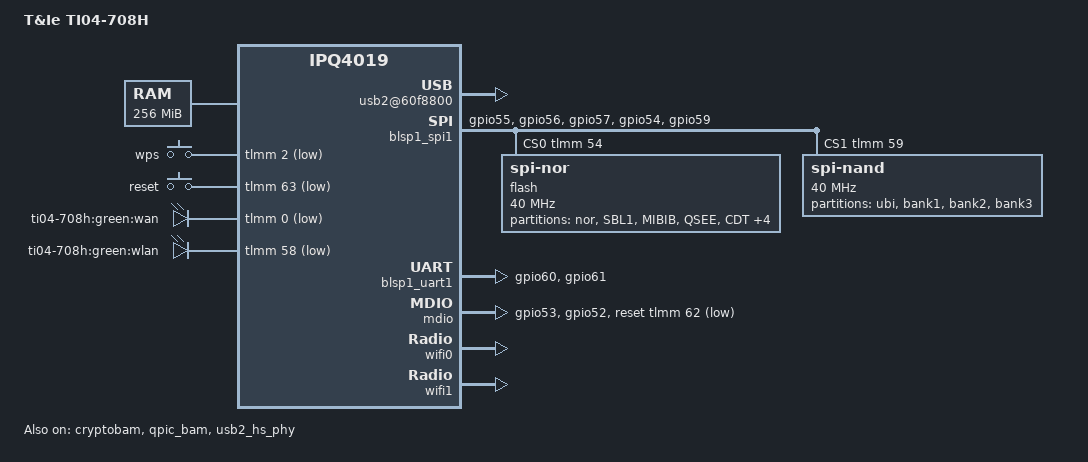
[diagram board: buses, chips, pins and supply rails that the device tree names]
// SPDX-License-Identifier: GPL-2.0-or-later OR MIT

#include "qcom-ipq4019.dtsi"
#include <dt-bindings/gpio/gpio.h>
#include <dt-bindings/input/input.h>
#include <dt-bindings/soc/qcom,tcsr.h>

/ {
	model = "T&Ie TI04-708H";
	compatible = "tnie,ti04-708h";

	memory {
		device_type = "memory";
		reg = <0x80000000 0x10000000>;
	};

	aliases {
		led-boot = &led_wan;
		led-failsafe = &led_wan;
		led-upgrade = &led_wan;
	};

	chosen {
		// bootargs-append = " ubi.mtd=UBI_DEV";
	};

	keys {
		compatible = "gpio-keys";

		wps {
			label = "wps";
			gpios = <&tlmm 2 GPIO_ACTIVE_LOW>;
			linux,code = <KEY_WPS_BUTTON>;
		};

		reset {
			label = "reset";
			gpios = <&tlmm 63 GPIO_ACTIVE_LOW>;
			linux,code = <KEY_RESTART>;
		};
	};

	leds {
		compatible = "gpio-leds";

		led_wan: wan {
			label = "ti04-708h:green:wan";
			gpios = <&tlmm 0 GPIO_ACTIVE_LOW>;
		};

		wlan {
			label = "ti04-708h:green:wlan";
			gpios = <&tlmm 58 GPIO_ACTIVE_LOW>;
			linux,default-trigger = "phy0tpt";
		};
	};

	soc {
		rng@22000 {
			status = "okay";
		};

		ess-psgmii@98000 {
			status = "okay";
		};

		counter@4a1000 {
			compatible = "qcom,qca-gcnt";
			reg = <0x4a1000 0x4>;
		};

		tcsr@1949000 {
			compatible = "qcom,tcsr";
			reg = <0x1949000 0x100>;
			qcom,wifi_glb_cfg = <TCSR_WIFI_GLB_CFG>;
		};

		tcsr@194b000 {
			compatible = "qcom,tcsr";
			reg = <0x194b000 0x100>;
			qcom,usb-hsphy-mode-select = <TCSR_USB_HSPHY_HOST_MODE>;
		};

		ess_tcsr@1953000 {
			compatible = "qcom,tcsr";
			reg = <0x1953000 0x1000>;
			qcom,ess-interface-select = <TCSR_ESS_PSGMII>;
		};

		tcsr@1957000 {
			compatible = "qcom,tcsr";
			reg = <0x1957000 0x100>;
			qcom,wifi_noc_memtype_m0_m2 = <TCSR_WIFI_NOC_MEMTYPE_M0_M2>;
		};

		usb2@60f8800 {
			status = "okay";

			dwc3@6000000 {
				#address-cells = <1>;
				#size-cells = <0>;

				port@1 {
					reg = <1>;
					#trigger-source-cells = <0>;
				};
			};
		};

		crypto@8e3a000 {
			status = "okay";
		};

		watchdog@b017000 {
			status = "okay";
		};

		ess-switch@c000000 {
			status = "okay";

			// switch_lan_bmp = <0x3c>;
			// switch_wan_bmp = <0x02>;
		};

		edma@c080000 {
			status = "okay";
		};
	};
};

&blsp_dma {
	status = "okay";
};

&blsp1_spi1 { /* BLSP1 QUP1 */
	pinctrl-0 = <&spi_0_pins>;
	pinctrl-names = "default";
	status = "okay";
	cs-gpios = <&tlmm 54 GPIO_ACTIVE_HIGH>,
		   <&tlmm 59 GPIO_ACTIVE_HIGH>;

	flash@0 {
		// compatible = "jedec,spi-nor", "n25q128a11";
		compatible = "jedec,spi-nor";
		reg = <0>;
		spi-max-frequency = <40000000>;

		partitions {
			compatible = "fixed-partitions";
			#address-cells = <1>;
			#size-cells = <1>;

			nor-flash@0 {
				label = "nor";
				reg = <0x0 0x200000>;
				read-only;
			};

			partition@0 {
				label = "SBL1";
				reg = <0x0 0x40000>;
				read-only;
			};
			partition@40000 {
				label = "MIBIB";
				reg = <0x40000 0x20000>;
				read-only;
			};
			partition@60000 {
				label = "QSEE";
				reg = <0x60000 0x60000>;
				read-only;
			};
			partition@c0000 {
				label = "CDT";
				reg = <0xc0000 0x10000>;
				read-only;
			};
			partition@d0000 {
				label = "DDRPARAMS";
				reg = <0xd0000 0x10000>;
				read-only;
			};
			partition@e0000 {
				label = "APPSBLENV"; /* u-boot-env */
				reg = <0xe0000 0x10000>;
				read-only;
			};
			partition@f0000 {
				label = "APPSBL"; /* u-boot */
				reg = <0xf0000 0x80000>;
				read-only;
			};
			partition@170000 {
				label = "ART";
				reg = <0x170000 0x10000>;
				read-only;
			};
			/* 0x180000 - 0x200000 unused */
		};
	};

	spi-nand@1 {
		compatible = "spi-nand";
		reg = <1>;
		spi-max-frequency = <40000000>;

		partitions {
			compatible = "fixed-partitions";
			#address-cells = <1>;
			#size-cells = <1>;

			nand-flash@0 {
				label = "ubi";
				reg = <0x0 0x8000000>;
				read-only;
			};

			partition@0 {
				label = "bank1";
				reg = <0x0 0x2000000>;
				read-only;
			};
			partition@3000000 {
				label = "bank2";
				reg = <0x3000000 0x2000000>;
				read-only;
			};
			partition@6300000 {
				label = "bank3";
				reg = <0x6300000 0x800000>;
				read-only;
			};
		};
	};
};

&blsp1_uart1 {
	pinctrl-0 = <&serial_pins>;
	pinctrl-names = "default";
	status = "okay";
};

&cryptobam {
	status = "okay";
};

&gmac0 {
	// vlan_tag = <1 0x3c>;
};

&gmac1 {
	// vlan_tag = <2 0x02>;
};

&mdio {
	pinctrl-0 = <&mdio_pins>;
	pinctrl-names = "default";
	status = "okay";
	// phy-reset-gpio = <&tlmm 62 GPIO_ACTIVE_LOW>;
	reset-gpios = <&tlmm 62 GPIO_ACTIVE_LOW>;
	reset-delay-us = <5000>;
};

&qpic_bam {
	status = "okay";
};

&tlmm {
	mdio_pins: mdio_pinmux {
		mux_mdio {
			pins = "gpio53";
			function = "mdio";
			bias-pull-up;
		};

		mux_mdc {
			pins = "gpio52";
			function = "mdc";
			bias-pull-up;
		};
	};

	serial_pins: serial_pinmux {
		mux {
			pins = "gpio60", "gpio61";
			function = "blsp_uart0";
			bias-disable;
		};
	};

	spi_0_pins: spi_0_pinmux {
		mux {
			pins = "gpio55", "gpio56", "gpio57";
			function = "blsp_spi0";
			drive-strength = <12>;
			bias-disable;
		};

		mux_cs {
			function = "gpio";
			pins = "gpio54", "gpio59";
			drive-strength = <2>;
			bias-disable;
			output-high;
		};
	};
};

&usb2_hs_phy {
	status = "okay";
};

&wifi0 {
	status = "okay";
	qcom,ath10k-calibration-variant = "TI04-708H";
};

&wifi1 {
	status = "okay";
	qcom,ath10k-calibration-variant = "TI04-708H";
};
